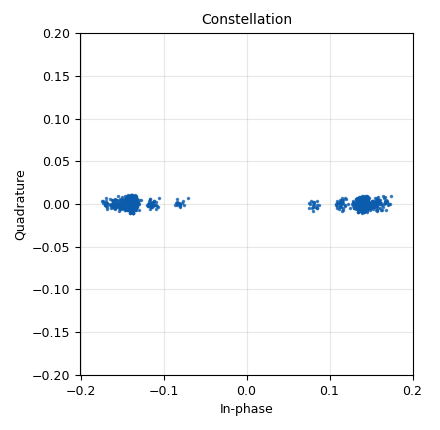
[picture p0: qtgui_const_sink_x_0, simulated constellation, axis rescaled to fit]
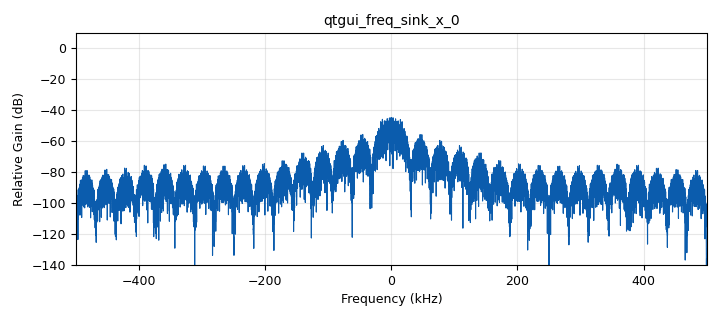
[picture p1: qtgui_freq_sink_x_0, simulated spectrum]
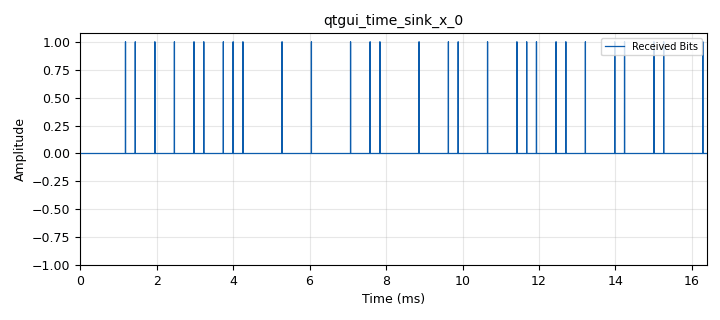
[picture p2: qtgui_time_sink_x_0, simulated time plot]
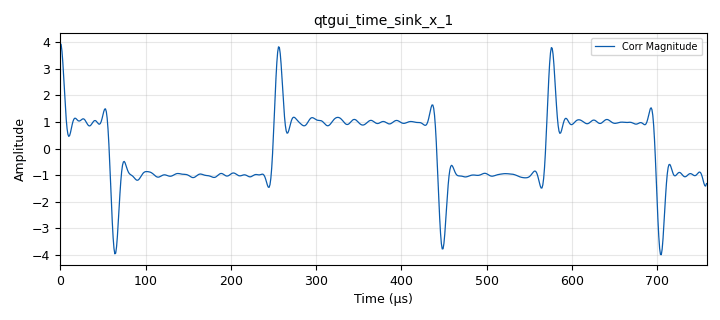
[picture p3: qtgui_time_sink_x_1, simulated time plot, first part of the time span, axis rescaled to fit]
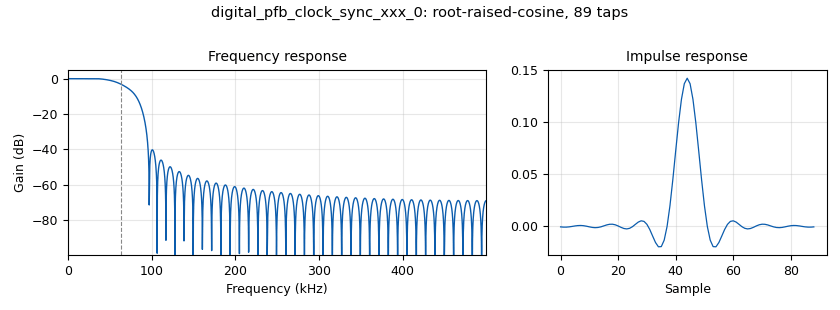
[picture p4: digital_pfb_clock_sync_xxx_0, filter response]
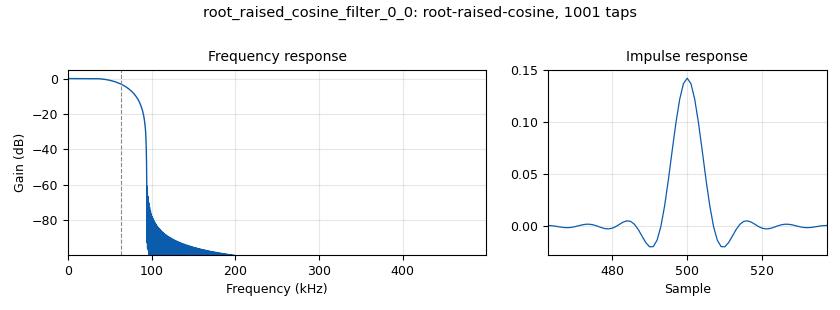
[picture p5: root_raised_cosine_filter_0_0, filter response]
options:
  parameters:
    author: Berkehan Ercan
    generate_options: qt_gui
    id: semCom
    output_language: python
    title: semanticCom
  states: {}

blocks:
- name: barker11
  id: variable
  parameters:
    value: (1,1,1,0,0,0,1,0,0,1,0)
  states: {}
- name: bpsk
  id: variable_constellation
  parameters:
    const_points: '[-1,1]'
    precision: '8'
    rot_sym: '2'
    sym_map: '[0, 1]'
    type: bpsk
  states: {}
- name: channel_noise
  id: variable_qtgui_range
  parameters:
    label: Channel Noise Voltage
    start: '0'
    step: '0.001'
    stop: '3'
    value: '0.1'
  states: {}
- name: channel_time
  id: variable_qtgui_range
  parameters:
    label: Channel Time Shift
    start: 1-0.001
    step: '0.00001'
    stop: 1+0.001
    value: '1'
  states: {}
- name: freqs
  id: variable_qtgui_range
  parameters:
    label: Frequency Shift
    start: 1-0.001
    step: '0.00001'
    stop: 1+0.001
    value: '1'
  states: {}
- name: payload_length
  id: variable
  parameters:
    value: '256'
  states: {}
- name: rrc_taps
  id: variable_rrc_filter_taps
  parameters:
    alpha: '0.5'
    gain: '1.0'
    ntaps: 11*sps
    samp_rate: samp_rate
    sym_rate: samp_rate/sps
  states: {}
- name: samp_rate
  id: variable
  parameters:
    value: '1000000'
  states: {}
- name: sps
  id: variable
  parameters:
    value: '8'
  states: {}
- name: analog_random_uniform_source_x_0
  id: analog_random_uniform_source_x
  parameters:
    maximum: '2'
    minimum: '0'
    seed: '123'
    type: byte
  states: {}
- name: blocks_complex_to_float_0
  id: blocks_complex_to_float
  parameters: {}
  states: {}
- name: blocks_null_sink_0
  id: blocks_null_sink
  parameters:
    type: float
  states: {}
- name: blocks_packed_to_unpacked_xx_0
  id: blocks_packed_to_unpacked_xx
  parameters:
    bits_per_chunk: '1'
    endianness: gr.GR_MSB_FIRST
    type: byte
  states: {}
- name: blocks_stream_to_tagged_stream_0
  id: blocks_stream_to_tagged_stream
  parameters:
    len_tag_key: '"packet_len"'
    packet_len: '256'
    type: byte
  states: {}
- name: blocks_stream_to_tagged_stream_1
  id: blocks_stream_to_tagged_stream
  parameters:
    len_tag_key: '"packet_len"'
    packet_len: len(barker11)
    type: byte
  states: {}
- name: blocks_tagged_stream_mux_1
  id: blocks_tagged_stream_mux
  parameters:
    lengthtagname: '"packet_len"'
    ninputs: '2'
    type: byte
  states: {}
- name: blocks_throttle2_0
  id: blocks_throttle2
  parameters:
    samples_per_second: samp_rate
    type: byte
  states: {}
- name: blocks_throttle2_0_0
  id: blocks_throttle2
  parameters:
    samples_per_second: samp_rate
    type: byte
  states: {}
- name: blocks_uchar_to_float_0
  id: blocks_uchar_to_float
  parameters: {}
  states: {}
- name: blocks_unpacked_to_packed_xx_0
  id: blocks_unpacked_to_packed_xx
  parameters:
    bits_per_chunk: '8'
    endianness: gr.GR_MSB_FIRST
    type: byte
  states: {}
- name: blocks_vector_source_x_0
  id: blocks_vector_source_x
  parameters:
    repeat: 'True'
    tags: ''
    type: byte
    vector: barker11
  states: {}
- name: channels_channel_model_0
  id: channels_channel_model
  parameters:
    epsilon: channel_time
    freq_offset: freqs
    noise_voltage: channel_noise
    seed: '213'
    taps: '[1]'
  states: {}
- name: digital_constellation_decoder_cb_0
  id: digital_constellation_decoder_cb
  parameters:
    constellation: bpsk
  states: {}
- name: digital_constellation_modulator_0
  id: digital_constellation_modulator
  parameters:
    alias: '"bpsk_mod"'
    constellation: bpsk
    differential: 'True'
    excess_bw: '0.50'
    samples_per_symbol: sps
    truncate: 'True'
  states: {}
- name: digital_corr_est_cc_0
  id: digital_corr_est_cc
  parameters:
    mark_delay: '1'
    sps: sps
    symbols: (1,1,1,-1,-1,-1,1,-1,-1,1,-1)
    threshold: '4'
    threshold_method: digital.THRESHOLD_ABSOLUTE
  states: {}
- name: digital_costas_loop_cc_0
  id: digital_costas_loop_cc
  parameters:
    order: '2'
    w: '0.065'
  states: {}
- name: digital_crc32_bb_0
  id: digital_crc32_bb
  parameters:
    check: 'False'
    lengthtagname: '"packet_len"'
    packed: 'False'
  states: {}
- name: digital_diff_decoder_bb_0
  id: digital_diff_decoder_bb
  parameters:
    coding: digital.DIFF_DIFFERENTIAL
    modulus: '2'
  states: {}
- name: digital_pfb_clock_sync_xxx_0
  id: digital_pfb_clock_sync_xxx
  parameters:
    filter_size: '32'
    init_phase: '16'
    loop_bw: '0.0628'
    max_dev: '1.5'
    osps: sps//2
    sps: sps
    taps: rrc_taps
    type: ccf
  states: {}
- name: qtgui_const_sink_x_0
  id: qtgui_const_sink_x
  parameters:
    color1: '"green"'
    grid: 'True'
    gui_hint: tab_qt@2
    legend: 'False'
    name: '"Constellation"'
    size: '2048'
    type: complex
    update_time: '0.01'
  states: {}
- name: qtgui_freq_sink_x_0
  id: qtgui_freq_sink_x
  parameters:
    bw: samp_rate
    fc: '0'
    fftsize: '16384'
    gui_hint: tab_qt@0
    type: complex
  states: {}
- name: qtgui_time_sink_x_0
  id: qtgui_time_sink_x
  parameters:
    ctrlpanel: 'True'
    grid: 'True'
    gui_hint: tab_qt@1
    label1: Received Bits
    size: '16384'
    srate: samp_rate
    tr_mode: qtgui.TRIG_MODE_TAG
    tr_tag: '"packet_len"'
    type: float
    update_time: '0.01'
  states: {}
- name: qtgui_time_sink_x_1
  id: qtgui_time_sink_x
  parameters:
    ctrlpanel: 'True'
    gui_hint: tab_qt@1
    label1: Corr Magnitude
    size: '10000'
    srate: samp_rate
    type: float
  states: {}
- name: root_raised_cosine_filter_0_0
  id: root_raised_cosine_filter
  parameters:
    alpha: '0.5'
    decim: '1'
    gain: '1'
    interp: '2'
    ntaps: '1000'
    samp_rate: samp_rate
    sym_rate: samp_rate/sps
    type: fir_filter_ccf
  states: {}
- name: tab_qt
  id: qtgui_tab_widget
  parameters:
    label0: Frequency Domain
    label1: Time Domain
    label2: Constellation Plot
    num_tabs: '3'
  states: {}
- name: virtual_sink_1
  id: virtual_sink
  parameters:
    stream_id: seq
  states: {}
- name: virtual_source_0
  id: virtual_source
  parameters:
    stream_id: seq
  states: {}

connections:
- [analog_random_uniform_source_x_0, '0', blocks_throttle2_0_0, '0']
- [blocks_complex_to_float_0, '0', qtgui_time_sink_x_1, '0']
- [blocks_complex_to_float_0, '1', blocks_null_sink_0, '0']
- [blocks_packed_to_unpacked_xx_0, '0', blocks_uchar_to_float_0, '0']
- [blocks_stream_to_tagged_stream_0, '0', digital_crc32_bb_0, '0']
- [blocks_stream_to_tagged_stream_1, '0', blocks_tagged_stream_mux_1, '0']
- [blocks_tagged_stream_mux_1, '0', blocks_unpacked_to_packed_xx_0, '0']
- [blocks_throttle2_0, '0', blocks_stream_to_tagged_stream_1, '0']
- [blocks_throttle2_0_0, '0', blocks_stream_to_tagged_stream_0, '0']
- [blocks_uchar_to_float_0, '0', qtgui_time_sink_x_0, '0']
- [blocks_unpacked_to_packed_xx_0, '0', digital_constellation_modulator_0, '0']
- [blocks_vector_source_x_0, '0', blocks_throttle2_0, '0']
- [channels_channel_model_0, '0', root_raised_cosine_filter_0_0, '0']
- [digital_constellation_decoder_cb_0, '0', digital_diff_decoder_bb_0, '0']
- [digital_constellation_modulator_0, '0', virtual_sink_1, '0']
- [digital_corr_est_cc_0, '0', digital_pfb_clock_sync_xxx_0, '0']
- [digital_corr_est_cc_0, '1', blocks_complex_to_float_0, '0']
- [digital_costas_loop_cc_0, '0', digital_constellation_decoder_cb_0, '0']
- [digital_costas_loop_cc_0, '0', qtgui_const_sink_x_0, '0']
- [digital_costas_loop_cc_0, '0', qtgui_freq_sink_x_0, '0']
- [digital_crc32_bb_0, '0', blocks_tagged_stream_mux_1, '1']
- [digital_diff_decoder_bb_0, '0', blocks_packed_to_unpacked_xx_0, '0']
- [digital_pfb_clock_sync_xxx_0, '0', digital_costas_loop_cc_0, '0']
- [root_raised_cosine_filter_0_0, '0', digital_corr_est_cc_0, '0']
- [virtual_source_0, '0', channels_channel_model_0, '0']

metadata:
  file_format: 1
  grc_version: 3.10.9.2
